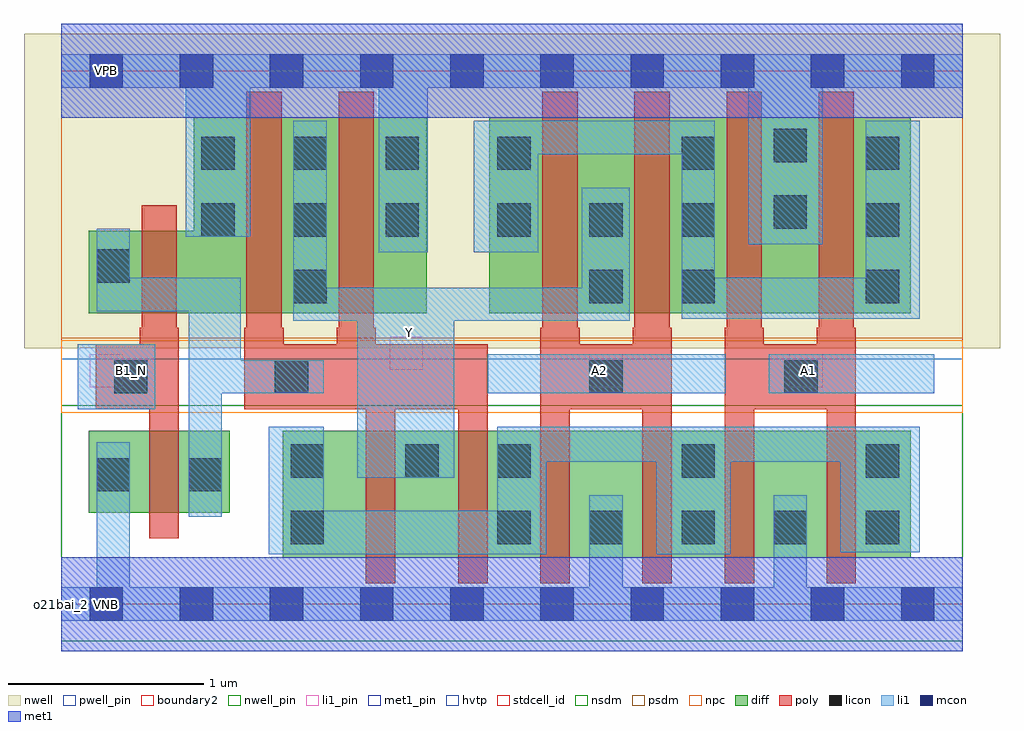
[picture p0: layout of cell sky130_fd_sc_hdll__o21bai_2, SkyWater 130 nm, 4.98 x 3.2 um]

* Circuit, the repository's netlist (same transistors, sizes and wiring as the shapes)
* Copyright 2020 The SkyWater PDK Authors
*
* Licensed under the Apache License, Version 2.0 (the "License");
* you may not use this file except in compliance with the License.
* You may obtain a copy of the License at
*
*     https://www.apache.org/licenses/LICENSE-2.0
*
* Unless required by applicable law or agreed to in writing, software
* distributed under the License is distributed on an "AS IS" BASIS,
* WITHOUT WARRANTIES OR CONDITIONS OF ANY KIND, either express or implied.
* See the License for the specific language governing permissions and
* limitations under the License.
*
* SPDX-License-Identifier: Apache-2.0

.SUBCKT sky130_fd_sc_hdll__o21bai_2 A1 A2 B1_N VGND VNB VPB VPWR Y
*.PININFO A1:I A2:I B1_N:I VGND:I VNB:I VPB:I VPWR:I Y:O
MMPA0 VPWR A1 sndA1 VPB sky130_fd_pr__pfet_01v8_hvt m=2 w=1.0U l=0.18U mult=1 sa=0.265
+ sb=0.265 sd=0.28 area=0.063 perim=1.14
MMPA1 sndA1 A2 Y VPB sky130_fd_pr__pfet_01v8_hvt m=2 w=1.0U l=0.18U mult=1 sa=0.265
+ sb=0.265 sd=0.28 area=0.063 perim=1.14
MMPB0 VPWR B1 Y VPB sky130_fd_pr__pfet_01v8_hvt m=2 w=1.0U l=0.18U mult=1 sa=0.265
+ sb=0.265 sd=0.28 area=0.063 perim=1.14
MMIPB1N B1 B1_N VPWR VPB sky130_fd_pr__pfet_01v8_hvt m=1 w=0.42U l=0.18U mult=1
+ sa=0.265 sb=0.265 sd=0.28 area=0.063 perim=1.14
MMNA0 pndA A1 VGND VNB sky130_fd_pr__nfet_01v8 m=2 w=0.65U l=0.15U mult=1 sa=0.265
+ sb=0.265 sd=0.28 area=0.063 perim=1.14
MMNA1 pndA A2 VGND VNB sky130_fd_pr__nfet_01v8 m=2 w=0.65U l=0.15U mult=1 sa=0.265
+ sb=0.265 sd=0.28 area=0.063 perim=1.14
MMNB0 Y B1 pndA VNB sky130_fd_pr__nfet_01v8 m=2 w=0.65U l=0.15U mult=1 sa=0.265
+ sb=0.265 sd=0.28 area=0.063 perim=1.14
MMINB1N B1 B1_N VGND VNB sky130_fd_pr__nfet_01v8 m=1 w=0.42U l=0.15U mult=1 sa=0.265
+ sb=0.265 sd=0.28 area=0.063 perim=1.14
.ENDS sky130_fd_sc_hdll__o21bai_2

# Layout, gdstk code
import gdstk
lib = gdstk.Library(unit=1e-6, precision=1e-09)
def R(c, l, rs):  # rectangles x0, y0, x1, y1
    for r in rs: c.add(gdstk.rectangle(r[:2], r[2:], *l))
def A(c, l, x, y, w, h, nx, ny, dx, dy):  # array of equal rectangles
    R(c, l, [(x+i*dx, y+j*dy, x+i*dx+w, y+j*dy+h) for i in range(nx) for j in range(ny)])
def P(c, l, *ps):  # polygons
    for p in ps: c.add(gdstk.Polygon(p, *l))
nwell_pin = (64, 16)
nwell = (64, 20)
diff = (65, 20)
poly = (66, 20)
licon = (66, 44)
li1_pin = (67, 16)
li1 = (67, 20)
mcon = (67, 44)
met1_pin = (68, 16)
met1 = (68, 20)
hvtp = (78, 44)
stdcell_id = (81, 4)
nsdm = (93, 44)
psdm = (94, 20)
npc = (95, 20)
pwell_pin = (122, 16)
boundary2 = (236, 0)

sky130_fd_sc_hdll__o21ba = lib.new_cell('sky130_fd_sc_hdll__o21bai_2')
R(sky130_fd_sc_hdll__o21ba, nwell_pin, [(0.145,2.635,0.315,2.805)])
R(sky130_fd_sc_hdll__o21ba, nwell, [(-0.19,1.305,4.79,2.91)])
R(sky130_fd_sc_hdll__o21ba, diff, [(1.13,0.235,4.335,0.885), (0.14,0.465,0.86,0.885), (2.185,1.485,4.335,2.485)])
P(sky130_fd_sc_hdll__o21ba, diff, [(1.865,2.485),(0.675,2.485),(0.675,1.905),(0.14,1.905),(0.14,1.485),(1.865,1.485)])
P(sky130_fd_sc_hdll__o21ba, poly, [(0.6,1.41),(0.59,1.41),(0.59,2.035),(0.41,2.035),(0.41,1.41),(0.4,1.41),(0.4,1.325),(0.175,1.325),(0.175,0.995),(0.45,0.995),(0.45,0.335),(0.6,0.335)],
  [(2.175,1.325),(1.605,1.325),(1.605,1.41),(1.595,1.41),(1.595,2.615),(1.415,2.615),(1.415,1.41),(1.405,1.41),(1.405,1.325),(1.135,1.325),(1.135,1.41),(1.125,1.41),(1.125,2.615),(0.945,2.615),(0.945,1.41),(0.935,1.41),(0.935,0.995),(1.555,0.995),(1.555,0.105),(1.705,0.105),(1.705,0.995),(2.025,0.995),(2.025,0.105),(2.175,0.105)],
  [(3.115,1.41),(3.105,1.41),(3.105,2.615),(2.925,2.615),(2.925,1.41),(2.915,1.41),(2.915,1.325),(2.645,1.325),(2.645,1.41),(2.635,1.41),(2.635,2.615),(2.455,2.615),(2.455,1.41),(2.445,1.41),(2.445,0.105),(2.595,0.105),(2.595,0.995),(2.965,0.995),(2.965,0.105),(3.115,0.105)],
  [(4.055,1.41),(4.045,1.41),(4.045,2.615),(3.865,2.615),(3.865,1.41),(3.855,1.41),(3.855,1.325),(3.585,1.325),(3.585,1.41),(3.575,1.41),(3.575,2.615),(3.395,2.615),(3.395,1.41),(3.385,1.41),(3.385,0.105),(3.535,0.105),(3.535,0.995),(3.905,0.995),(3.905,0.105),(4.055,0.105)])
A(sky130_fd_sc_hdll__o21ba, licon, 2.225, 0.305, 0.17, 0.17, 5, 1, 0.47, 0)
A(sky130_fd_sc_hdll__o21ba, licon, 2.225, 0.645, 0.17, 0.17, 3, 2, 0.94, 1.57)
A(sky130_fd_sc_hdll__o21ba, licon, 0.715, 1.875, 0.17, 0.17, 3, 2, 0.47, 0.34)
A(sky130_fd_sc_hdll__o21ba, licon, 2.225, 1.875, 0.17, 0.17, 3, 1, 0.47, 0)
R(sky130_fd_sc_hdll__o21ba, licon, [(1.17,0.305,1.34,0.475), (0.18,0.575,0.35,0.745), (0.65,0.575,0.82,0.745), (1.17,0.645,1.34,0.815), (1.755,0.645,1.925,0.815), (0.27,1.075,0.44,1.245), (1.09,1.075,1.26,1.245), (2.695,1.075,2.865,1.245), (3.69,1.075,3.86,1.245), (1.185,1.535,1.355,1.705), (2.695,1.535,2.865,1.705), (3.165,1.535,3.335,1.705), (4.105,1.535,4.275,1.705), (0.18,1.64,0.35,1.81), (4.105,1.875,4.275,2.045), (3.635,1.915,3.805,2.085), (3.635,2.255,3.805,2.425)])
R(sky130_fd_sc_hdll__o21ba, li1_pin, [(0.145,1.105,0.315,1.275), (2.695,1.105,2.865,1.275), (3.715,1.105,3.885,1.275), (1.675,1.195,1.845,1.365)])
R(sky130_fd_sc_hdll__o21ba, li1, [(0.085,0.995,0.48,1.325), (2.175,1.075,3.39,1.275), (3.61,1.075,4.455,1.275)])
P(sky130_fd_sc_hdll__o21ba, li1, [(4.6,0.085),(3.805,0.085),(3.805,0.555),(3.635,0.555),(3.635,0.085),(2.865,0.085),(2.865,0.555),(2.695,0.555),(2.695,0.085),(0.35,0.085),(0.35,0.825),(0.18,0.825),(0.18,0.085),(0,0.085),(0,-0.085),(4.6,-0.085)],
  [(4.6,2.805),(0,2.805),(0,2.635),(0.635,2.635),(0.635,1.875),(0.965,1.875),(0.965,2.635),(1.62,2.635),(1.62,1.795),(1.87,1.795),(1.87,2.635),(3.505,2.635),(3.505,1.835),(3.885,1.835),(3.885,2.635),(4.6,2.635)],
  [(1.34,1.245),(0.915,1.245),(0.915,1.665),(0.35,1.665),(0.35,1.915),(0.18,1.915),(0.18,1.495),(0.65,1.495),(0.65,0.445),(0.82,0.445),(0.82,1.075),(1.34,1.075)],
  [(2.9,2.125),(2.655,2.125),(2.655,1.615),(1.355,1.615),(1.355,2.465),(1.185,2.465),(1.185,1.445),(1.51,1.445),(1.51,0.645),(2.005,0.645),(2.005,1.445),(2.9,1.445)],
  [(4.38,2.465),(4.105,2.465),(4.105,1.665),(3.335,1.665),(3.335,2.465),(2.105,2.465),(2.105,1.795),(2.435,1.795),(2.435,2.295),(3.165,2.295),(3.165,1.455),(4.38,1.455)],
  [(4.38,0.905),(2.225,0.905),(2.225,0.475),(1.34,0.475),(1.34,0.905),(1.06,0.905),(1.06,0.255),(2.475,0.255),(2.475,0.725),(3.035,0.725),(3.035,0.255),(3.415,0.255),(3.415,0.725),(3.975,0.725),(3.975,0.265),(4.38,0.265)])
A(sky130_fd_sc_hdll__o21ba, mcon, 0.145, -0.085, 0.17, 0.17, 10, 2, 0.46, 2.72)
R(sky130_fd_sc_hdll__o21ba, met1_pin, [(0.145,-0.085,0.315,0.085), (0.145,2.635,0.315,2.805)])
R(sky130_fd_sc_hdll__o21ba, met1, [(0,-0.24,4.6,0.24), (0,2.48,4.6,2.96)])
R(sky130_fd_sc_hdll__o21ba, hvtp, [(0,1.25,4.6,2.72)])
R(sky130_fd_sc_hdll__o21ba, stdcell_id, [(0,0,4.6,2.72)])
R(sky130_fd_sc_hdll__o21ba, nsdm, [(0,-0.19,4.6,1.015)])
R(sky130_fd_sc_hdll__o21ba, psdm, [(0,1.355,4.6,2.91)])
R(sky130_fd_sc_hdll__o21ba, npc, [(0,0.975,4.6,1.345)])
R(sky130_fd_sc_hdll__o21ba, pwell_pin, [(0.145,-0.085,0.315,0.085)])
R(sky130_fd_sc_hdll__o21ba, boundary2, [(0,0,4.6,2.72)])
sky130_fd_sc_hdll__o21ba.add(gdstk.Label('B1_N', (0.36,1.19), layer=67, texttype=5))
sky130_fd_sc_hdll__o21ba.add(gdstk.Label('Y', (1.775,1.385), layer=67, texttype=5))
sky130_fd_sc_hdll__o21ba.add(gdstk.Label('A2', (2.745,1.19), layer=67, texttype=5))
sky130_fd_sc_hdll__o21ba.add(gdstk.Label('A1', (3.815,1.19), layer=67, texttype=5))
sky130_fd_sc_hdll__o21ba.add(gdstk.Label('VNB', (0.23,0), layer=64, texttype=59))
sky130_fd_sc_hdll__o21ba.add(gdstk.Label('VPB', (0.23,2.72), layer=64, texttype=5))
sky130_fd_sc_hdll__o21ba.add(gdstk.Label('VGND', (0.23,0), layer=68, texttype=5))
sky130_fd_sc_hdll__o21ba.add(gdstk.Label('VPWR', (0.23,2.72), layer=68, texttype=5))
sky130_fd_sc_hdll__o21ba.add(gdstk.Label('o21bai_2', (0,0), layer=83, texttype=44))

lib.write_gds('sky130_fd_sc_hdll__o21bai_2.gds')
